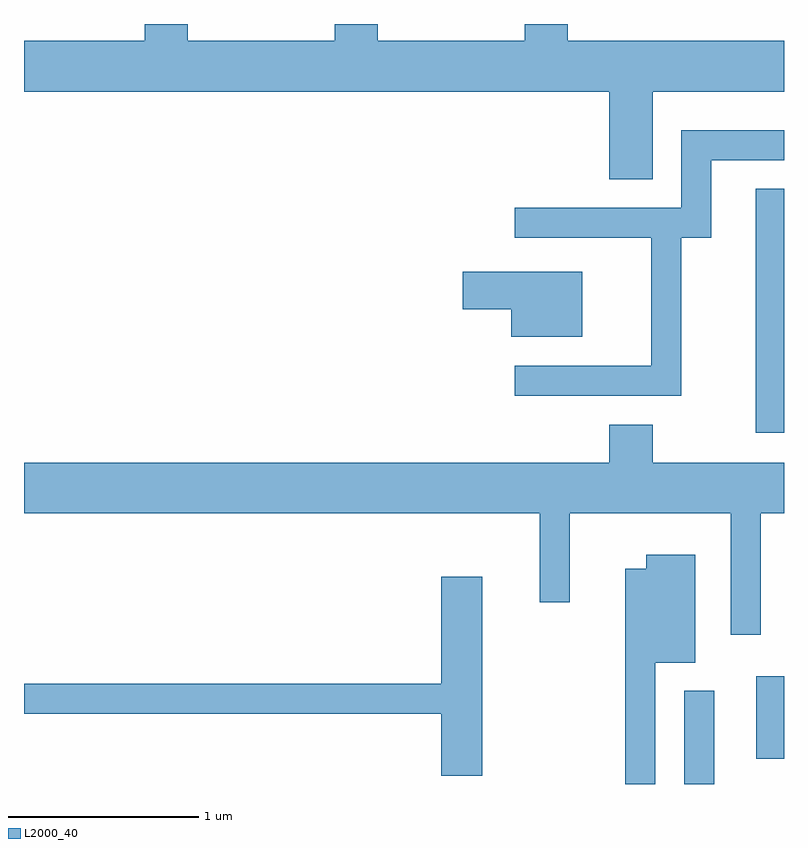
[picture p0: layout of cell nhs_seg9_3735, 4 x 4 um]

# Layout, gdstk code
import gdstk
lib = gdstk.Library(unit=1e-6, precision=1e-09)
def R(c, l, rs):  # rectangles x0, y0, x1, y1
    for r in rs: c.add(gdstk.rectangle(r[:2], r[2:], *l))
def P(c, l, *ps):  # polygons
    for p in ps: c.add(gdstk.Polygon(p, *l))
L2000_40 = (2000, 40)

nhs_seg9_3735 = lib.new_cell('nhs_seg9_3735')
R(nhs_seg9_3735, L2000_40, [(299.086,1950.432,299.244,1950.923), (299.466,1950.566,299.611,1950.999), (299.461,1952.281,299.611,1953.564)])
P(nhs_seg9_3735, L2000_40, [(298.919,1954.076),(299.611,1954.076),(299.611,1954.344),(298.474,1954.344),(298.474,1954.432),(298.246,1954.432),(298.246,1954.344),(297.474,1954.344),(297.474,1954.432),(297.246,1954.432),(297.246,1954.344),(296.474,1954.344),(296.474,1954.432),(296.246,1954.432),(296.246,1954.344),(295.611,1954.344),(295.611,1954.076),(298.691,1954.076),(298.691,1953.616),(298.919,1953.616)],
  [(299.069,1953.306),(299.229,1953.306),(299.229,1953.716),(299.611,1953.716),(299.611,1953.874),(299.071,1953.874),(299.071,1953.464),(298.193,1953.464),(298.193,1953.306),(298.911,1953.306),(298.911,1952.634),(298.193,1952.634),(298.193,1952.476),(299.069,1952.476)],
  [(298.549,1953.129),(297.921,1953.129),(297.921,1952.931),(298.176,1952.931),(298.176,1952.786),(298.549,1952.786)],
  [(299.489,1951.856),(299.611,1951.856),(299.611,1952.124),(298.919,1952.124),(298.919,1952.324),(298.691,1952.324),(298.691,1952.124),(295.611,1952.124),(295.611,1951.856),(298.326,1951.856),(298.326,1951.388),(298.484,1951.388),(298.484,1951.856),(299.331,1951.856),(299.331,1951.218),(299.489,1951.218)],
  [(298.934,1951.071),(299.144,1951.071),(299.144,1951.639),(298.886,1951.639),(298.886,1951.564),(298.776,1951.564),(298.776,1950.432),(298.934,1950.432)],
  [(298.024,1951.524),(297.806,1951.524),(297.806,1950.959),(295.611,1950.959),(295.611,1950.801),(297.806,1950.801),(297.806,1950.476),(298.024,1950.476)])

lib.write_gds('nhs_seg9_3735.gds')
